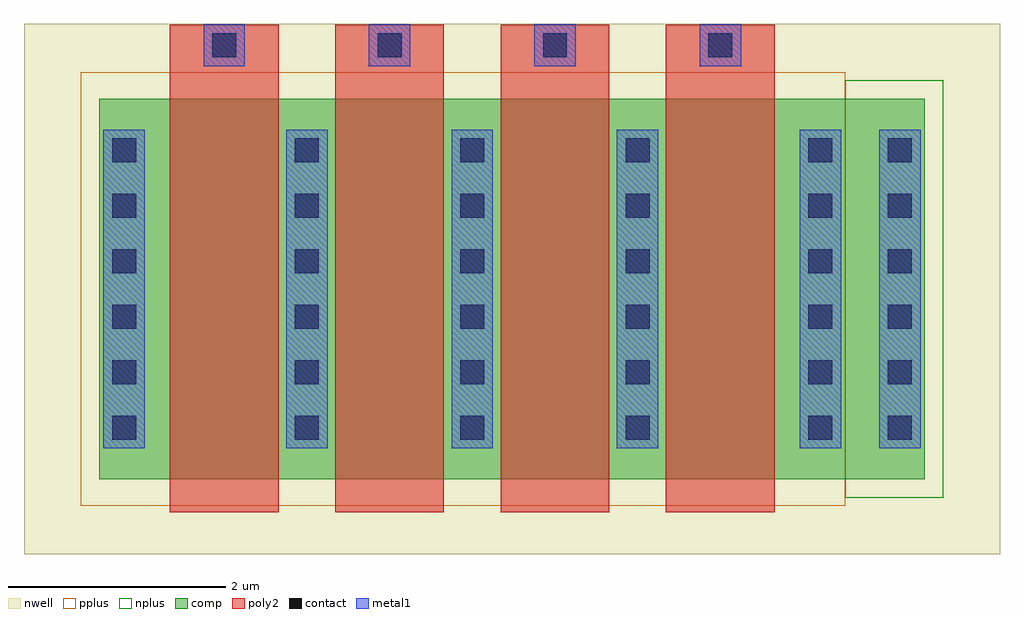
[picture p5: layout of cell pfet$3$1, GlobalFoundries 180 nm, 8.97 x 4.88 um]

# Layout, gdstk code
import gdstk
lib = gdstk.Library(unit=1e-6, precision=1e-09)
def R(c, l, rs):  # rectangles x0, y0, x1, y1
    for r in rs: c.add(gdstk.rectangle(r[:2], r[2:], *l))
def A(c, l, x, y, w, h, nx, ny, dx, dy):  # array of equal rectangles
    R(c, l, [(x+i*dx, y+j*dy, x+i*dx+w, y+j*dy+h) for i in range(nx) for j in range(ny)])
nwell = (21, 0)
comp = (22, 0)
poly2 = (30, 0)
pplus = (31, 0)
nplus = (32, 0)
contact = (33, 0)
metal1 = (34, 0)

pfet_3_1 = lib.new_cell('pfet$3$1')
R(pfet_3_1, nwell, [(-1.15,-0.69,7.82,4.19)])
R(pfet_3_1, comp, [(-0.46,0,0,3.5), (0,0,5.94,3.5), (5.94,0,6.4,3.5), (6.4,0,7.13,3.5)])
A(pfet_3_1, poly2, 0.19, -0.3, 1, 4.1, 4, 1, 1.52, 0)
A(pfet_3_1, poly2, 0.19, 3.8, 1, 0.38, 4, 1, 1.52, 0)
R(pfet_3_1, pplus, [(-0.63,-0.24,6.4,3.74)])
R(pfet_3_1, nplus, [(6.4,-0.17,7.3,3.67)])
A(pfet_3_1, contact, -0.34, 0.365, 0.22, 0.22, 1, 6, 0, 0.51)
A(pfet_3_1, contact, 1.34, 0.365, 0.22, 0.22, 3, 6, 1.52, 0.51)
A(pfet_3_1, contact, 6.06, 0.365, 0.22, 0.22, 1, 6, 0, 0.51)
A(pfet_3_1, contact, 6.79, 0.365, 0.22, 0.22, 1, 6, 0, 0.51)
A(pfet_3_1, contact, 0.58, 3.88, 0.22, 0.22, 4, 1, 1.52, 0)
A(pfet_3_1, metal1, 1.26, 0.285, 0.38, 2.93, 3, 1, 1.52, 0)
A(pfet_3_1, metal1, 0.5, 3.799, 0.38, 0.382, 4, 1, 1.52, 0)
R(pfet_3_1, metal1, [(-0.42,0.285,-0.04,3.215), (5.98,0.285,6.36,3.215), (6.71,0.285,7.09,3.215)])

lib.write_gds('pfet_3_1.gds')
